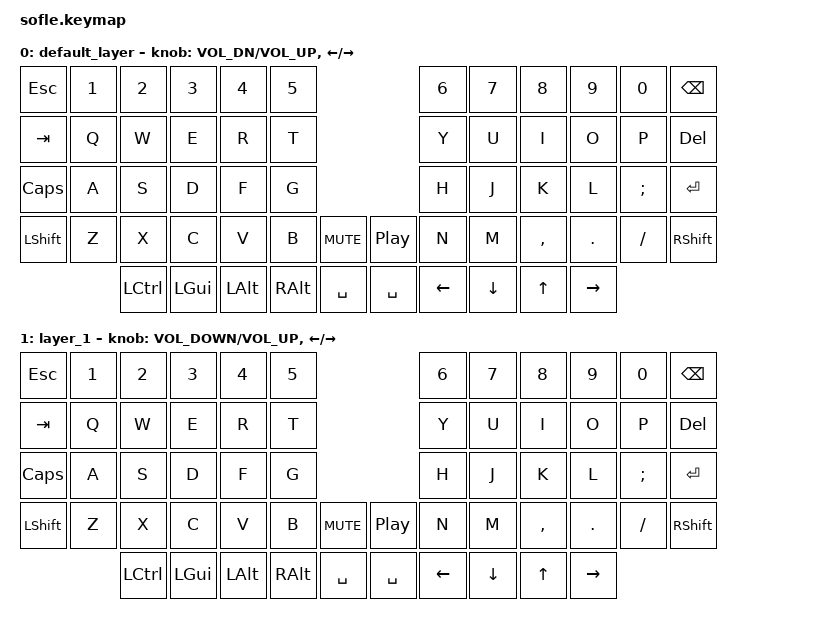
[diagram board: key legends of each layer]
/*
 * Copyright (c) 2020 The ZMK Contributors
 *
 * SPDX-License-Identifier: MIT
 */

#include <behaviors.dtsi>
#include <dt-bindings/zmk/keys.h>

/ {
    keymap {
        compatible = "zmk,keymap";

        default_layer {
            // ------------------------------------------------------------------------------------------------------------
            // |  `    |  1  |  2  |  3   |  4   |  5   |                   |  6   |  7    |  8    |  9   |   0   |   \   |
            // |  TAB  |  Q  |  W  |  E   |  R   |  T   |                   |  Y   |  U    |  I    |  O   |   P   | BKSPC |
            // | C/ESC |  A  |  S  |  D   |  F   |  G   |                   |  H   |  J    |  K    |  L   |   ;   |  C/'  |
            // | SHIFT |  Z  |  X  |  C   |  V   |  B   |  MUTE  |  | PLAY  |  N   |  M    |  ,    |  .   |   /   | SHIFT |
            //               | CAPS| ALT  | GUI/-| SPACE|LOWER/[ |  |RAISE/]| ENTER|  GUI/=|  ALT  | CTRL |

            bindings = <
&kp ESC    &kp N1  &kp N2     &kp N3    &kp N4    &kp N5                             &kp N6    &kp N7    &kp N8     &kp N9     &kp N0    &kp BSPC
&kp TAB    &kp Q   &kp W      &kp E     &kp R     &kp T                              &kp Y     &kp U     &kp I      &kp O      &kp P     &kp DEL
&kp CLCK   &kp A   &kp S      &kp D     &kp F     &kp G                              &kp H     &kp J     &kp K      &kp L      &kp SEMI  &kp RET
&kp LSHFT  &kp Z   &kp X      &kp C     &kp V     &kp B     &kp C_MUTE    &kp C_PP   &kp N     &kp M     &kp COMMA  &kp DOT    &kp FSLH  &kp RSHFT
                   &kp LCTRL  &kp LGUI  &kp LALT  &kp RALT  &kp SPACE     &kp SPACE  &kp LEFT  &kp DOWN  &kp UP     &kp RIGHT
            >;

            sensor-bindings =
                <&inc_dec_kp C_VOL_DN C_VOL_UP>,
                <&inc_dec_kp LEFT_ARROW RIGHT_ARROW>;
        };

        layer_1 {
            bindings = <
&kp ESC    &kp N1  &kp N2     &kp N3    &kp N4    &kp N5                                    &kp N6    &kp N7    &kp N8     &kp N9     &kp N0    &kp BSPC
&kp TAB    &kp Q   &kp W      &kp E     &kp R     &kp T                                     &kp Y     &kp U     &kp I      &kp O      &kp P     &kp DEL
&kp CAPS   &kp A   &kp S      &kp D     &kp F     &kp G                                     &kp H     &kp J     &kp K      &kp L      &kp SEMI  &kp RET
&kp LSHFT  &kp Z   &kp X      &kp C     &kp V     &kp B     &kp C_MUTE    &kp C_PLAY_PAUSE  &kp N     &kp M     &kp COMMA  &kp DOT    &kp FSLH  &kp RSHFT
                   &kp LCTRL  &kp LGUI  &kp LALT  &kp RALT  &kp SPACE     &kp SPACE         &kp LEFT  &kp DOWN  &kp UP     &kp RIGHT
            >;

            sensor-bindings =
                <&inc_dec_kp K_VOLUME_DOWN C_VOLUME_UP>,
                <&inc_dec_kp LEFT_ARROW RIGHT_ARROW>;
        };
    };
};
